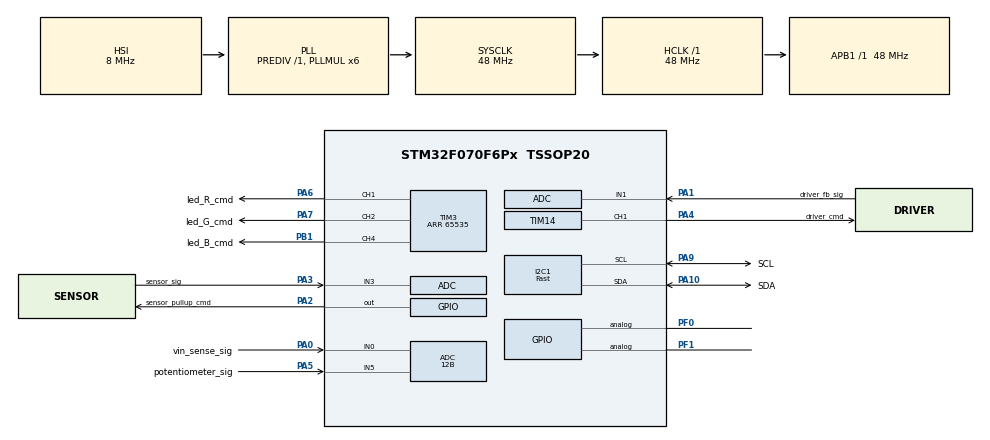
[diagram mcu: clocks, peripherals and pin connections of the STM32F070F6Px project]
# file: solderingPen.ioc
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ADC.ClockPrescaler=ADC_CLOCK_ASYNC_DIV1
ADC.ContinuousConvMode=DISABLE
ADC.DMAContinuousRequests=DISABLE
ADC.DataAlign=ADC_DATAALIGN_RIGHT
ADC.DiscontinuousConvMode=DISABLE
ADC.EOCSelection=ADC_EOC_SEQ_CONV
ADC.EnableAnalogWatchDog=false
ADC.ExternalTrigConvEdge=ADC_EXTERNALTRIGCONVEDGE_NONE
ADC.LowPowerAutoPowerOff=DISABLE
ADC.LowPowerAutoWait=DISABLE
ADC.Overrun=ADC_OVR_DATA_OVERWRITTEN
ADC.Resolution=ADC_RESOLUTION_12B
ADC.SamplingTime=ADC_SAMPLETIME_7CYCLES_5
ADC.ScanConvMode=ADC_SCAN_DIRECTION_FORWARD
Dma.ADC.0.Direction=DMA_PERIPH_TO_MEMORY
Dma.ADC.0.Instance=DMA1_Channel1
Dma.ADC.0.MemDataAlignment=DMA_MDATAALIGN_HALFWORD
Dma.ADC.0.MemInc=DMA_MINC_ENABLE
Dma.ADC.0.Mode=DMA_NORMAL
Dma.ADC.0.PeriphDataAlignment=DMA_PDATAALIGN_HALFWORD
Dma.ADC.0.PeriphInc=DMA_PINC_DISABLE
Dma.ADC.0.Priority=DMA_PRIORITY_LOW
Dma.Request0=ADC
I2C1.I2C_Speed_Mode=I2C_Fast
I2C1.Speed=200
I2C1.Timing=0x00000A17
Mcu.Family=STM32F0
Mcu.Name=STM32F070F6Px
Mcu.Package=TSSOP20
NVIC.DMA1_Channel1_IRQn=true\:0\:0\:false\:false\:true
NVIC.TIM14_IRQn=true\:0\:0\:false\:false\:true
NVIC.TIM1_BRK_UP_TRG_COM_IRQn=true\:0\:0\:false\:false\:true
PA0.GPIO_Label=vin_sense_sig
PA0.Mode=IN0
PA0.Signal=ADC_IN0
PA1.GPIO_Label=driver_fb_sig
PA1.Mode=IN1
PA1.Signal=ADC_IN1
PA10.GPIO_Label=SDA
PA10.Mode=I2C
PA10.Signal=I2C1_SDA
PA13.Mode=Serial-WireDebug
PA13.Signal=SYS_SWDIO
PA14.Mode=Serial-WireDebug
PA14.Signal=SYS_SWCLK
PA2.GPIO_Label=sensor_pullup_cmd
PA2.Signal=GPIO_Output
PA3.GPIO_Label=sensor_sig
PA3.Mode=IN3
PA3.Signal=ADC_IN3
PA4.GPIO_Label=driver_cmd
PA4.Signal=S_TIM14_CH1
PA5.GPIO_Label=potentiometer_sig
PA5.Mode=IN5
PA5.Signal=ADC_IN5
PA6.GPIO_Label=led_R_cmd
PA6.GPIO_Speed=GPIO_SPEED_FREQ_LOW
PA6.Signal=S_TIM3_CH1
PA7.GPIO_Label=led_G_cmd
PA7.GPIO_Speed=GPIO_SPEED_FREQ_LOW
PA7.Signal=S_TIM3_CH2
PA9.GPIO_Label=SCL
PA9.Mode=I2C
PA9.Signal=I2C1_SCL
PB1.GPIO_Label=led_B_cmd
PB1.Signal=S_TIM3_CH4
PF0-OSC_IN.Signal=GPIO_Analog
PF1-OSC_OUT.Signal=GPIO_Analog
ProjectManager.HeapSize=0x200
ProjectManager.StackSize=0x400
ProjectManager.TargetToolchain=SW4STM32
RCC.AHBFreq_Value=48000000
RCC.APB1Freq_Value=48000000
RCC.APB1TimFreq_Value=48000000
RCC.HCLKFreq_Value=48000000
RCC.PLLMUL=RCC_PLL_MUL6
RCC.SYSCLKFreq_VALUE=48000000
RCC.SYSCLKSource=RCC_SYSCLKSOURCE_PLLCLK
SH.S_TIM14_CH1.0=TIM14_CH1,PWM Generation1 CH1
SH.S_TIM3_CH1.0=TIM3_CH1,PWM Generation1 CH1
SH.S_TIM3_CH2.0=TIM3_CH2,PWM Generation2 CH2
SH.S_TIM3_CH4.0=TIM3_CH4,PWM Generation4 CH4
TIM1.Period=9
TIM1.Prescaler=4799
TIM14.Period=9999
TIM14.Prescaler=47
TIM3.Channel-PWM\ Generation2\ CH2=TIM_CHANNEL_2
TIM3.Channel-PWM\ Generation4\ CH4=TIM_CHANNEL_4
TIM3.OCMode_PWM-PWM\ Generation1\ CH1=TIM_OCMODE_PWM2
TIM3.OCMode_PWM-PWM\ Generation2\ CH2=TIM_OCMODE_PWM2
TIM3.OCMode_PWM-PWM\ Generation4\ CH4=TIM_OCMODE_PWM2
TIM3.Period=65535
VP_TIM14_VS_ClockSourceINT.Mode=Enable_Timer
VP_TIM1_VS_OPM.Mode=OPM_bit
board=solderingPen

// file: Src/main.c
/**
 ******************************************************************************
 * File Name          : main.c
 * Description        : Main program body
 ******************************************************************************
 *
 * COPYRIGHT(c) 2016 STMicroelectronics
 *
 * Redistribution and use in source and binary forms, with or without modification,
 * are permitted provided that the following conditions are met:
 *   1. Redistributions of source code must retain the above copyright notice,
 *      this list of conditions and the following disclaimer.
 *   2. Redistributions in binary form must reproduce the above copyright notice,
 *      this list of conditions and the following disclaimer in the documentation
 *      and/or other materials provided with the distribution.
 *   3. Neither the name of STMicroelectronics nor the names of its contributors
 *      may be used to endorse or promote products derived from this software
 *      without specific prior written permission.
 *
 * THIS SOFTWARE IS PROVIDED BY THE COPYRIGHT HOLDERS AND CONTRIBUTORS "AS IS"
 * AND ANY EXPRESS OR IMPLIED WARRANTIES, INCLUDING, BUT NOT LIMITED TO, THE
 * IMPLIED WARRANTIES OF MERCHANTABILITY AND FITNESS FOR A PARTICULAR PURPOSE ARE
 * DISCLAIMED. IN NO EVENT SHALL THE COPYRIGHT HOLDER OR CONTRIBUTORS BE LIABLE
 * FOR ANY DIRECT, INDIRECT, INCIDENTAL, SPECIAL, EXEMPLARY, OR CONSEQUENTIAL
 * DAMAGES (INCLUDING, BUT NOT LIMITED TO, PROCUREMENT OF SUBSTITUTE GOODS OR
 * SERVICES; LOSS OF USE, DATA, OR PROFITS; OR BUSINESS INTERRUPTION) HOWEVER
 * CAUSED AND ON ANY THEORY OF LIABILITY, WHETHER IN CONTRACT, STRICT LIABILITY,
 * OR TORT (INCLUDING NEGLIGENCE OR OTHERWISE) ARISING IN ANY WAY OUT OF THE USE
 * OF THIS SOFTWARE, EVEN IF ADVISED OF THE POSSIBILITY OF SUCH DAMAGE.
 *
 ******************************************************************************
 */
#include "stm32f0xx_hal.h"

/* USER CODE BEGIN Includes */
#include "debug.h"
#include "heater.h"
#include "led.h"
#include "adc.h"
#include "magnetometer.h"

/* USER CODE END Includes */

ADC_HandleTypeDef hadc;
DMA_HandleTypeDef hdma_adc;

I2C_HandleTypeDef hi2c1;

TIM_HandleTypeDef htim1;
TIM_HandleTypeDef htim3;
TIM_HandleTypeDef htim14;

/* USER CODE BEGIN PV */
/* Private variables ---------------------------------------------------------*/

/// State of heater PWM state machine
typedef enum {
	/// Invalid state.
	HEATER_PWM_STATE_INVALID,
	/// Heater is on, waiting for delay to update measurements.
	HEATER_PWM_STATE_ON_DELAY,
	/// Heater is on, updating measurements.
	HEATER_PWM_STATE_ON_BUSY,
	/// Heater is on, waiting for turn off.
	HEATER_PWM_STATE_ON_IDLE,
	/// Heater is off, waiting for delay to update measurements.
	HEATER_PWM_STATE_OFF_DELAY,
	/// Heater is off, updating measurements.
	HEATER_PWM_STATE_OFF_BUSY,
	/// Heater is off, waiting for turn on.
	HEATER_PWM_STATE_OFF_IDLE
} heater_pwm_state_t;

/* USER CODE END PV */

void SystemClock_Config(void);
static void MX_GPIO_Init(void);
static void MX_DMA_Init(void);
static void MX_ADC_Init(void);
static void MX_I2C1_Init(void);
static void MX_TIM3_Init(void);
static void MX_TIM14_Init(void);
static void MX_TIM1_Init(void);

void HAL_TIM_MspPostInit(TIM_HandleTypeDef *htim);

/* USER CODE BEGIN PFP */
/* Private function prototypes -----------------------------------------------*/

/* USER CODE END PFP */

int main(void) {

	/* USER CODE BEGIN 1 */
	/// State of heater PWM state machine
	heater_pwm_state_t heater_pwm_state = HEATER_PWM_STATE_INVALID;
	/// Temperature set
	uint16_t temperature_set_lsb = 0;
	/// Error of temperature set
	int32_t error_temp_lsb = 0;
	/// Previous value of error of temperature set
	int32_t error_temp_last_lsb = 0;
	/// Integral of error of temperature set over time
	int32_t error_temp_integral_lsb = 0;
	/// Value of PWM to be set
	int32_t pwm_set = 0;
	/// Previous value of PWM.
	static int32_t pwm_set_last = 0;
	/// Proportional gain of regulator - from sensor to heater PWM.
	volatile int32_t REGULATOR_P = 512;
	/// Integral gain of regulator - from sensor to heater PWM.
	volatile int32_t REGULATOR_I = 0;
	/// Derivative gain of regulator - from sensor to heater PWM.
	volatile int32_t REGULATOR_D = 0;
	/// Current state of device.
	state_t current_state = STATE_OK;
	/// Minor error flags
	error_flags_t error_flags = NO_ERROR_FLAGS;
	/// Variable for holding status of functions.
	HAL_StatusTypeDef status;
	/// Previous magnetometer status
	HAL_StatusTypeDef mag_status_last = HAL_OK;
	/// Value read from magnetometer.
	uint16_t magnetometer;
	/// State of heater driver load.
	tip_state_t tip_state = TIP_OK;
	/// Flag for indicating invalid diagnostics (too low PWM)
	bool tip_diagnostics_invalid_flag = false;

	/* USER CODE END 1 */

	/* MCU Configuration----------------------------------------------------------*/

	/* Reset of all peripherals, Initializes the Flash interface and the Systick. */
	HAL_Init();

	/* Configure the system clock */
	SystemClock_Config();

	/* Initialize all configured peripherals */
	MX_GPIO_Init();
	MX_DMA_Init();
	MX_ADC_Init();
	MX_I2C1_Init();
	MX_TIM3_Init();
	MX_TIM14_Init();
	MX_TIM1_Init();

	/* USER CODE BEGIN 2 */
	adc_init();
	heater_init();
	led_start_pwm();
	heater_pwm_state = HEATER_PWM_STATE_OFF_IDLE;
	status = magnetometer_init();
	if (status != HAL_OK) {
		error_flags |= MAGNETOMETER_ERROR_FLAG;
	}
	/* USER CODE END 2 */

	/* Infinite loop */
	while (1) {

		/* USER CODE BEGIN 3 */
		// ==================== PWM phase state machine =====================
		switch (heater_pwm_state) {
		case HEATER_PWM_STATE_ON_DELAY:
			// Heater is on, waiting for delay to update measurements.
			if (heater_delay_elapsed()) {
				heater_pwm_state = HEATER_PWM_STATE_ON_BUSY;
			}
			break;
		case HEATER_PWM_STATE_ON_BUSY:
			// Heater is on, updating measurements.
			adc_convert_while_heater_on();
			// ========== Read and process magnetometer ===========
			status = magnetometer_read(&magnetometer);
			if (status == HAL_OK) {
				// Clear error flag.
				error_flags &= (~MAGNETOMETER_ERROR_FLAG);
			} else {
				/* Cannot read new value from magnetometer. It can happen once per cycle, as magnetometer data rate is
				 * 80 Hz and loop cycle is 100 Hz. */
				if (mag_status_last != HAL_OK) {
					// Cannot read new value twice. Set error flag.
					error_flags |= MAGNETOMETER_ERROR_FLAG;
				}
			}
			mag_status_last = status;
			// --------- heater diagnostics ---------
			tip_state = heater_diagnostics(&tip_diagnostics_invalid_flag, pwm_set_last);
			// ==================== Device state machine =====================
			switch (current_state) {
			case STATE_OK_LOW_TEMP:
			case STATE_OK:
			case STATE_OK_HIGH_TEMP:
			case STATE_STANDBY:
				// ========== Heater regulator control. ===========
				if (!heater_is_pullup_on) {
					// Only if pullup is off.
					// Calculate desired temperature.
					if (current_state == STATE_STANDBY) {
						// Set standby temperature.
						temperature_set_lsb = SENSOR_ADC_T_STANDBY;
					} else {
						// Set temperature set by potentiometer.
						temperature_set_lsb = (uint16_t) ((((uint32_t) adc_get(ADC_POTENTIOMETER) * POT_SENS_NUMERATOR)
								>> POT_SENS_DENOMINATOR_BIT_SHIFT) + POT_SENS_ADDEND);
					}
					// Save previous value of error.
					error_temp_last_lsb = error_temp_lsb;
					// Calculate actual value of temperature error.
					error_temp_lsb = (int32_t) temperature_set_lsb - (int32_t) adc_get(ADC_SENSOR);
					// Calculate integral of temperature error.
					if ((error_temp_integral_lsb + error_temp_lsb) > 100) {
						// Overflow.
						error_temp_integral_lsb = 100;
					} else if ((error_temp_integral_lsb + error_temp_lsb) < -100) {
						// Overflow.
						error_temp_integral_lsb = -100;
					} else {
						error_temp_integral_lsb += error_temp_lsb;
					}
					pwm_set = error_temp_lsb * REGULATOR_P + REGULATOR_OFFSET;
					pwm_set += ((error_temp_integral_lsb * REGULATOR_I) / 16);
					pwm_set += ((REGULATOR_D * (error_temp_lsb - error_temp_last_lsb)) / 16);

					if (pwm_set < 0) {
						pwm_set = 0;
					}
					if (pwm_set > HEATER_PWM_MAX) {
						pwm_set = HEATER_PWM_MAX;
					}
				} //if (!is_pullup_on)
				else {
					pwm_set = pwm_set_last;
				}
				if (tip_diagnostics_invalid_flag) {
					if (pwm_set < HEATER_FB_PWM_MIN) {
						pwm_set = HEATER_FB_PWM_MIN;
					}
					tip_diagnostics_invalid_flag = false;
				}
				// --------- Change state if needed. ---------
				if (adc_get(ADC_VIN_SENSE_HEATER_OFF) > VIN_MAX_LSB) {
					current_state = STATE_HIGH_SUPPLY;
				} else if (adc_get(ADC_VIN_SENSE_HEATER_OFF) < VIN_MIN_LSB) {
					current_state = STATE_LOW_SUPPLY;
				} else if ((tip_state == TIP_HEATER_OPEN) || (tip_state == TIP_SENSOR_OPEN)) {
					current_state = STATE_ERROR_OPEN_LOAD;
				} else if ((tip_state == TIP_HEATER_OVERLOAD) || (tip_state == TIP_SENSOR_SHORT)) {
					current_state = STATE_ERROR_OVERLOAD;
				} else if (tip_state == TIP_DISCONNECTED) {
					current_state = STATE_DISCONNECTED;
				} else if (magnetometer > 10000) {
					current_state = STATE_STANDBY;
				} else if (error_temp_lsb > 30) {
					current_state = STATE_OK_LOW_TEMP;
				} else if (error_temp_lsb < -50) {
					current_state = STATE_OK_HIGH_TEMP;
				} else {
					current_state = STATE_OK;

				}
				break;
			case STATE_ERROR_LOW_TEMP:
				pwm_set = 0;
				break;
			case STATE_LOW_SUPPLY:
			case STATE_HIGH_SUPPLY:
				pwm_set = 0;
				// --------- Change state if needed. ---------
				if (adc_get(ADC_VIN_SENSE_HEATER_OFF) > VIN_MAX_LSB) {
					current_state = STATE_HIGH_SUPPLY;
				} else if (adc_get(ADC_VIN_SENSE_HEATER_OFF) < VIN_MIN_LSB) {
					current_state = STATE_LOW_SUPPLY;
				} else {
					current_state = STATE_OK;
				}
				break;
			case STATE_DISCONNECTED:
				pwm_set = 0;
				if (tip_diagnostics_invalid_flag) {
					pwm_set = HEATER_FB_PWM_MIN;
					tip_diagnostics_invalid_flag = false;
				}
				// --------- Change state if needed. ---------
				if (adc_get(ADC_VIN_SENSE_HEATER_OFF) > VIN_MAX_LSB) {
					current_state = STATE_HIGH_SUPPLY;
				} else if (adc_get(ADC_VIN_SENSE_HEATER_OFF) < VIN_MIN_LSB) {
					current_state = STATE_LOW_SUPPLY;
				} else if ((tip_state == TIP_HEATER_OPEN) || (tip_state == TIP_SENSOR_OPEN)) {
					current_state = STATE_ERROR_OPEN_LOAD;
				} else if ((tip_state == TIP_HEATER_OVERLOAD) || (tip_state == TIP_SENSOR_SHORT)) {
					current_state = STATE_ERROR_OVERLOAD;
				} else if (tip_state == TIP_DISCONNECTED) {
					current_state = STATE_DISCONNECTED;
				} else {
					current_state = STATE_OK;
				}
				break;
			case STATE_ERROR_OVERLOAD:
			case STATE_ERROR_OPEN_LOAD:
				pwm_set = 0;
				if (tip_diagnostics_invalid_flag) {
					pwm_set = HEATER_FB_PWM_MIN;
					tip_diagnostics_invalid_flag = false;
				}
				// --------- Change state if needed. ---------
				if (adc_get(ADC_VIN_SENSE_HEATER_OFF) > VIN_MAX_LSB) {
					current_state = STATE_HIGH_SUPPLY;
				} else if (adc_get(ADC_VIN_SENSE_HEATER_OFF) < VIN_MIN_LSB) {
					current_state = STATE_LOW_SUPPLY;
				} else if ((tip_state == TIP_HEATER_OPEN) || (tip_state == TIP_SENSOR_OPEN)) {
					current_state = STATE_ERROR_OPEN_LOAD;
				} else if ((tip_state == TIP_HEATER_OVERLOAD) || (tip_state == TIP_SENSOR_SHORT)) {
					current_state = STATE_ERROR_OVERLOAD;
				} else if (tip_state == TIP_DISCONNECTED) {
					current_state = STATE_DISCONNECTED;
				} else {
					current_state = STATE_OK;
				}
				break;
			case STATE_ERROR_HIGH_TEMP:
			case STATE_INVALID:
			default:
				pwm_set = 0;
				break;
			}
			debug_print_raw(&current_state, 1);
			pwm_set_last = pwm_set;
			heater_cmd((uint16_t) pwm_set);
			led_loop(current_state);
			heater_pwm_state = HEATER_PWM_STATE_ON_IDLE;
			break;
		case HEATER_PWM_STATE_ON_IDLE:
			// Heater is on, waiting for turn off.
			if (heater_pwm_falling_edge_flag) {
				heater_pwm_falling_edge_flag = 0;
				heater_delay_start(ADC_HEATER_OFF_DELAY);
				heater_pwm_state = HEATER_PWM_STATE_OFF_DELAY;
			}
			break;
		case HEATER_PWM_STATE_OFF_DELAY:
			// Heater is off, waiting for delay to update measurements.
			if (heater_delay_elapsed()) {
				heater_pwm_state = HEATER_PWM_STATE_OFF_BUSY;
			}
			break;
		case HEATER_PWM_STATE_OFF_BUSY:
			// Heater is off, updating measurements.
			adc_convert_while_heater_off();
			heater_pwm_state = HEATER_PWM_STATE_OFF_IDLE;
			break;
		case HEATER_PWM_STATE_OFF_IDLE:
			// Heater is off, waiting for turn on.
			if (heater_pwm_rising_edge_flag) {
				heater_pwm_rising_edge_flag = 0;
				heater_delay_start(ADC_HEATER_ON_DELAY);
				heater_pwm_state = HEATER_PWM_STATE_ON_DELAY;
			}
			break;
		default:
			// Invalid state.
			// TODO!
			break;
		}
	}
	/* USER CODE END 3 */

}

/** System Clock Configuration
 */
void SystemClock_Config(void) {

	RCC_OscInitTypeDef RCC_OscInitStruct;
	RCC_ClkInitTypeDef RCC_ClkInitStruct;
	RCC_PeriphCLKInitTypeDef PeriphClkInit;

	RCC_OscInitStruct.OscillatorType = RCC_OSCILLATORTYPE_HSI | RCC_OSCILLATORTYPE_HSI14;
	RCC_OscInitStruct.HSIState = RCC_HSI_ON;
	RCC_OscInitStruct.HSI14State = RCC_HSI14_ON;
	RCC_OscInitStruct.HSICalibrationValue = 16;
	RCC_OscInitStruct.HSI14CalibrationValue = 16;
	RCC_OscInitStruct.PLL.PLLState = RCC_PLL_ON;
	RCC_OscInitStruct.PLL.PLLSource = RCC_PLLSOURCE_HSI;
	RCC_OscInitStruct.PLL.PLLMUL = RCC_PLL_MUL6;
	RCC_OscInitStruct.PLL.PREDIV = RCC_PREDIV_DIV1;
	HAL_RCC_OscConfig(&RCC_OscInitStruct);

	RCC_ClkInitStruct.ClockType = RCC_CLOCKTYPE_HCLK | RCC_CLOCKTYPE_SYSCLK | RCC_CLOCKTYPE_PCLK1;
	RCC_ClkInitStruct.SYSCLKSource = RCC_SYSCLKSOURCE_PLLCLK;
	RCC_ClkInitStruct.AHBCLKDivider = RCC_SYSCLK_DIV1;
	RCC_ClkInitStruct.APB1CLKDivider = RCC_HCLK_DIV1;
	HAL_RCC_ClockConfig(&RCC_ClkInitStruct, FLASH_LATENCY_1);

	PeriphClkInit.PeriphClockSelection = RCC_PERIPHCLK_I2C1;
	PeriphClkInit.I2c1ClockSelection = RCC_I2C1CLKSOURCE_HSI;
	HAL_RCCEx_PeriphCLKConfig(&PeriphClkInit);

	HAL_SYSTICK_Config(HAL_RCC_GetHCLKFreq() / 1000);

	HAL_SYSTICK_CLKSourceConfig(SYSTICK_CLKSOURCE_HCLK);

	/* SysTick_IRQn interrupt configuration */
	HAL_NVIC_SetPriority(SysTick_IRQn, 0, 0);
}

/* ADC init function */
void MX_ADC_Init(void) {

	ADC_ChannelConfTypeDef sConfig;

	/**Configure the global features of the ADC (Clock, Resolution, Data Alignment and number of conversion)
	 */
	hadc.Instance = ADC1;
	hadc.Init.ClockPrescaler = ADC_CLOCK_ASYNC_DIV1;
	hadc.Init.Resolution = ADC_RESOLUTION_12B;
	hadc.Init.DataAlign = ADC_DATAALIGN_RIGHT;
	hadc.Init.ScanConvMode = ADC_SCAN_DIRECTION_FORWARD;
	hadc.Init.EOCSelection = ADC_EOC_SEQ_CONV;
	hadc.Init.LowPowerAutoWait = DISABLE;
	hadc.Init.LowPowerAutoPowerOff = DISABLE;
	hadc.Init.ContinuousConvMode = DISABLE;
	hadc.Init.DiscontinuousConvMode = DISABLE;
	hadc.Init.ExternalTrigConvEdge = ADC_EXTERNALTRIGCONVEDGE_NONE;
	hadc.Init.DMAContinuousRequests = DISABLE;
	hadc.Init.Overrun = ADC_OVR_DATA_OVERWRITTEN;
	HAL_ADC_Init(&hadc);

	/**Configure for the selected ADC regular channel to be converted.
	 */
	sConfig.Channel = ADC_CHANNEL_0;
	sConfig.Rank = ADC_RANK_CHANNEL_NUMBER;
	sConfig.SamplingTime = ADC_SAMPLETIME_7CYCLES_5;
	HAL_ADC_ConfigChannel(&hadc, &sConfig);

	/**Configure for the selected ADC regular channel to be converted.
	 */
	sConfig.Channel = ADC_CHANNEL_1;
	HAL_ADC_ConfigChannel(&hadc, &sConfig);

	/**Configure for the selected ADC regular channel to be converted.
	 */
	sConfig.Channel = ADC_CHANNEL_3;
	HAL_ADC_ConfigChannel(&hadc, &sConfig);

	/**Configure for the selected ADC regular channel to be converted.
	 */
	sConfig.Channel = ADC_CHANNEL_5;
	HAL_ADC_ConfigChannel(&hadc, &sConfig);

}

/* I2C1 init function */
void MX_I2C1_Init(void) {

	hi2c1.Instance = I2C1;
	hi2c1.Init.Timing = 0x2000090E;
	hi2c1.Init.OwnAddress1 = 0;
	hi2c1.Init.AddressingMode = I2C_ADDRESSINGMODE_7BIT;
	hi2c1.Init.DualAddressMode = I2C_DUALADDRESS_DISABLE;
	hi2c1.Init.OwnAddress2 = 0;
	hi2c1.Init.OwnAddress2Masks = I2C_OA2_NOMASK;
	hi2c1.Init.GeneralCallMode = I2C_GENERALCALL_DISABLE;
	hi2c1.Init.NoStretchMode = I2C_NOSTRETCH_DISABLE;
	HAL_I2C_Init(&hi2c1);

	/**Configure Analogue filter
	 */
	HAL_I2CEx_ConfigAnalogFilter(&hi2c1, I2C_ANALOGFILTER_ENABLE);

}

/* TIM1 init function */
void MX_TIM1_Init(void) {

	htim1.Instance = TIM1;
	htim1.Init.Prescaler = 4799;
	htim1.Init.CounterMode = TIM_COUNTERMODE_UP;
	htim1.Init.Period = 9;
	htim1.Init.ClockDivision = TIM_CLOCKDIVISION_DIV1;
	htim1.Init.RepetitionCounter = 0;
	HAL_TIM_OnePulse_Init(&htim1, TIM_OPMODE_SINGLE);

}

/* TIM3 init function */
void MX_TIM3_Init(void) {

	TIM_MasterConfigTypeDef sMasterConfig;
	TIM_OC_InitTypeDef sConfigOC;

	htim3.Instance = TIM3;
	htim3.Init.Prescaler = 0;
	htim3.Init.CounterMode = TIM_COUNTERMODE_UP;
	htim3.Init.Period = 65535;
	htim3.Init.ClockDivision = TIM_CLOCKDIVISION_DIV1;
	HAL_TIM_PWM_Init(&htim3);

	sMasterConfig.MasterOutputTrigger = TIM_TRGO_RESET;
	sMasterConfig.MasterSlaveMode = TIM_MASTERSLAVEMODE_DISABLE;
	HAL_TIMEx_MasterConfigSynchronization(&htim3, &sMasterConfig);

	sConfigOC.OCMode = TIM_OCMODE_PWM2;
	sConfigOC.Pulse = 0;
	sConfigOC.OCPolarity = TIM_OCPOLARITY_HIGH;
	sConfigOC.OCFastMode = TIM_OCFAST_DISABLE;
	HAL_TIM_PWM_ConfigChannel(&htim3, &sConfigOC, TIM_CHANNEL_1);

	HAL_TIM_PWM_ConfigChannel(&htim3, &sConfigOC, TIM_CHANNEL_2);

	HAL_TIM_PWM_ConfigChannel(&htim3, &sConfigOC, TIM_CHANNEL_4);

	HAL_TIM_MspPostInit(&htim3);

}

/* TIM14 init function */
void MX_TIM14_Init(void) {

	TIM_OC_InitTypeDef sConfigOC;

	htim14.Instance = TIM14;
	htim14.Init.Prescaler = 47;
	htim14.Init.CounterMode = TIM_COUNTERMODE_UP;
	htim14.Init.Period = 9999;
	htim14.Init.ClockDivision = TIM_CLOCKDIVISION_DIV1;
	HAL_TIM_Base_Init(&htim14);

	HAL_TIM_PWM_Init(&htim14);

	sConfigOC.OCMode = TIM_OCMODE_PWM1;
	sConfigOC.Pulse = 0;
	sConfigOC.OCPolarity = TIM_OCPOLARITY_HIGH;
	sConfigOC.OCFastMode = TIM_OCFAST_DISABLE;
	HAL_TIM_PWM_ConfigChannel(&htim14, &sConfigOC, TIM_CHANNEL_1);

	HAL_TIM_MspPostInit(&htim14);

}

void MX_DMA_Init(void) {
	/* DMA controller clock enable */
	__HAL_RCC_DMA1_CLK_ENABLE()
	;

	/* DMA interrupt init */
	/* DMA1_Channel1_IRQn interrupt configuration */
	HAL_NVIC_SetPriority(DMA1_Channel1_IRQn, 0, 0);
	HAL_NVIC_EnableIRQ(DMA1_Channel1_IRQn);

}

/** Configure pins as
 * Analog
 * Input
 * Output
 * EVENT_OUT
 * EXTI
 * Free pins are configured automatically as Analog (this feature is enabled through
 * the Code Generation settings)
 */
void MX_GPIO_Init(void) {

	GPIO_InitTypeDef GPIO_InitStruct;

	/* GPIO Ports Clock Enable */
	__HAL_RCC_GPIOF_CLK_ENABLE()
	;
	__HAL_RCC_GPIOA_CLK_ENABLE()
	;
	__HAL_RCC_GPIOB_CLK_ENABLE()
	;

	/*Configure GPIO pins : PF0 PF1 */
	GPIO_InitStruct.Pin = GPIO_PIN_0 | GPIO_PIN_1;
	GPIO_InitStruct.Mode = GPIO_MODE_ANALOG;
	GPIO_InitStruct.Pull = GPIO_NOPULL;
	HAL_GPIO_Init(GPIOF, &GPIO_InitStruct);

	/*Configure GPIO pin : sensor_pullup_cmd_Pin */
	GPIO_InitStruct.Pin = sensor_pullup_cmd_Pin;
	GPIO_InitStruct.Mode = GPIO_MODE_OUTPUT_PP;
	GPIO_InitStruct.Pull = GPIO_NOPULL;
	GPIO_InitStruct.Speed = GPIO_SPEED_FREQ_HIGH;
	HAL_GPIO_Init(sensor_pullup_cmd_GPIO_Port, &GPIO_InitStruct);

	/*Configure GPIO pin Output Level */
	HAL_GPIO_WritePin(sensor_pullup_cmd_GPIO_Port, sensor_pullup_cmd_Pin, GPIO_PIN_RESET);

}

/************************ (C) COPYRIGHT STMicroelectronics *****END OF FILE****/
